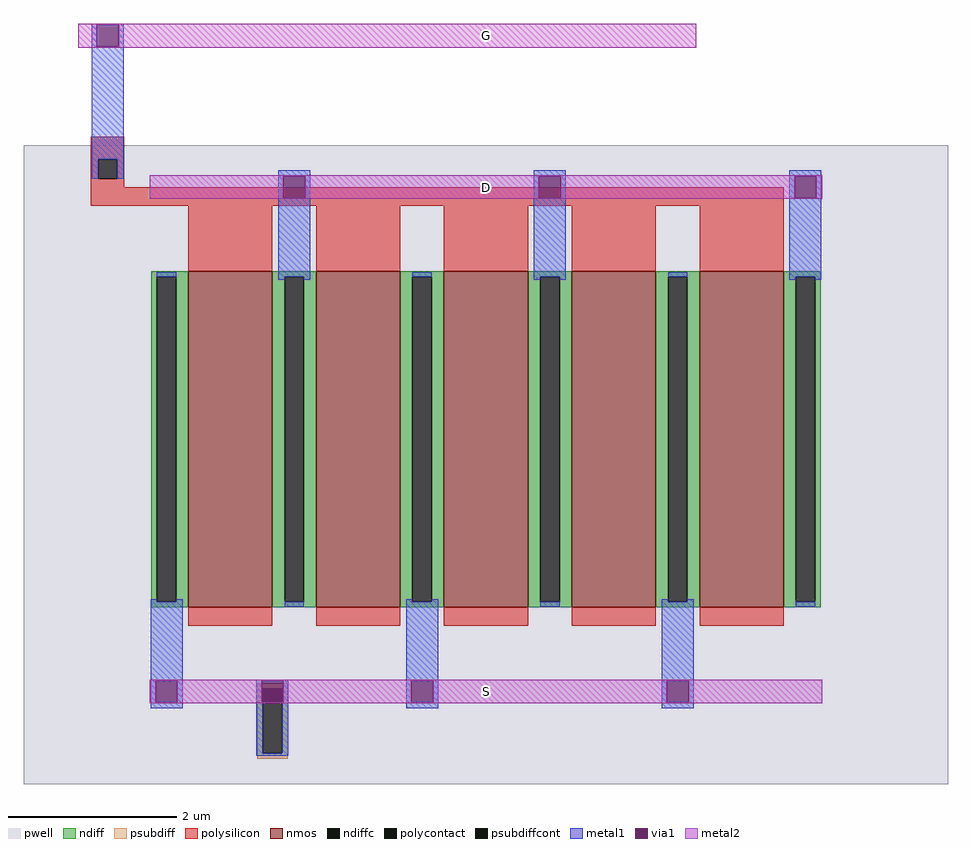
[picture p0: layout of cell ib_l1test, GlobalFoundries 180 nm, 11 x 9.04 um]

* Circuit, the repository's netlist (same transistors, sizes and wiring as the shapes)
.subckt ib_l1test S D G
XMT D G S S nfet_03v3 L=1u W=4u nf=1 m=5
.ends ib_l1test

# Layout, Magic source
magic
tech gf180mcuD
magscale 1 10
<< pwell >>
rect -1100 -820 1100 700
<< nmos >>
rect -708 -400 -508 400
rect -404 -400 -204 400
rect -100 -400 100 400
rect 204 -400 404 400
rect 508 -400 708 400
<< ndiff >>
rect -796 387 -708 400
rect -796 -387 -783 387
rect -737 -387 -708 387
rect -796 -400 -708 -387
rect -508 387 -404 400
rect -508 -387 -479 387
rect -433 -387 -404 387
rect -508 -400 -404 -387
rect -204 387 -100 400
rect -204 -387 -175 387
rect -129 -387 -100 387
rect -204 -400 -100 -387
rect 100 387 204 400
rect 100 -387 129 387
rect 175 -387 204 387
rect 100 -400 204 -387
rect 404 387 508 400
rect 404 -387 433 387
rect 479 -387 508 387
rect 404 -400 508 -387
rect 708 387 796 400
rect 708 -387 737 387
rect 783 -387 796 387
rect 708 -400 796 -387
<< ndiffc >>
rect -783 -387 -737 387
rect -479 -387 -433 387
rect -175 -387 -129 387
rect 129 -387 175 387
rect 433 -387 479 387
rect 737 -387 783 387
<< psubdiff >>
rect -544 -593 -472 -580
rect -544 -747 -531 -593
rect -485 -747 -472 -593
rect -544 -760 -472 -747
<< psubdiffcont >>
rect -531 -747 -485 -593
<< polysilicon >>
rect -940 666 -860 720
rect -940 620 -923 666
rect -877 620 -860 666
rect -940 600 -860 620
rect -940 556 708 600
rect -708 400 -508 556
rect -404 400 -204 556
rect -100 400 100 556
rect 204 400 404 556
rect 508 400 708 556
rect -708 -444 -508 -400
rect -404 -444 -204 -400
rect -100 -444 100 -400
rect 204 -444 404 -400
rect 508 -444 708 -400
<< polycontact >>
rect -923 620 -877 666
<< metal1 >>
rect -938 986 -862 988
rect -938 934 -926 986
rect -874 934 -862 986
rect -938 666 -862 934
rect -938 620 -923 666
rect -877 620 -862 666
rect -494 626 -418 640
rect -494 574 -482 626
rect -430 574 -418 626
rect -783 387 -737 398
rect -798 -387 -783 -380
rect -494 387 -418 574
rect 114 626 190 640
rect 114 574 126 626
rect 178 574 190 626
rect -494 380 -479 387
rect -737 -387 -722 -380
rect -798 -574 -722 -387
rect -433 380 -418 387
rect -175 387 -129 398
rect -479 -398 -433 -387
rect -190 -387 -175 -380
rect 114 387 190 574
rect 722 626 798 640
rect 722 574 734 626
rect 786 574 798 626
rect 114 380 129 387
rect -129 -387 -114 -380
rect -798 -626 -786 -574
rect -734 -626 -722 -574
rect -798 -640 -722 -626
rect -546 -574 -470 -572
rect -546 -626 -534 -574
rect -482 -626 -470 -574
rect -546 -747 -531 -626
rect -485 -747 -470 -626
rect -190 -574 -114 -387
rect 175 380 190 387
rect 433 387 479 398
rect 129 -398 175 -387
rect 418 -387 433 -380
rect 722 387 798 574
rect 722 380 737 387
rect 479 -387 494 -380
rect -190 -626 -178 -574
rect -126 -626 -114 -574
rect -190 -640 -114 -626
rect 418 -574 494 -387
rect 783 380 798 387
rect 737 -398 783 -387
rect 418 -626 430 -574
rect 482 -626 494 -574
rect 418 -640 494 -626
rect -546 -753 -470 -747
<< via1 >>
rect -926 934 -874 986
rect -482 574 -430 626
rect 126 574 178 626
rect 734 574 786 626
rect -786 -626 -734 -574
rect -534 -593 -482 -574
rect -534 -626 -531 -593
rect -531 -626 -485 -593
rect -485 -626 -482 -593
rect -178 -626 -126 -574
rect 430 -626 482 -574
<< metal2 >>
rect -970 986 500 988
rect -970 934 -926 986
rect -874 934 500 986
rect -970 932 500 934
rect -800 626 800 628
rect -800 574 -482 626
rect -430 574 126 626
rect 178 574 734 626
rect 786 574 800 626
rect -800 572 800 574
rect -800 -574 800 -572
rect -800 -626 -786 -574
rect -734 -626 -534 -574
rect -482 -626 -178 -574
rect -126 -626 430 -574
rect 482 -626 800 -574
rect -800 -628 800 -626
<< labels >>
rlabel metal2 -40 -620 40 -580 0 S
port 1 nsew
rlabel metal2 -40 574 40 626 0 D
port 2 nsew
rlabel metal2 -40 940 40 980 0 G
port 3 nsew
<< end >>
